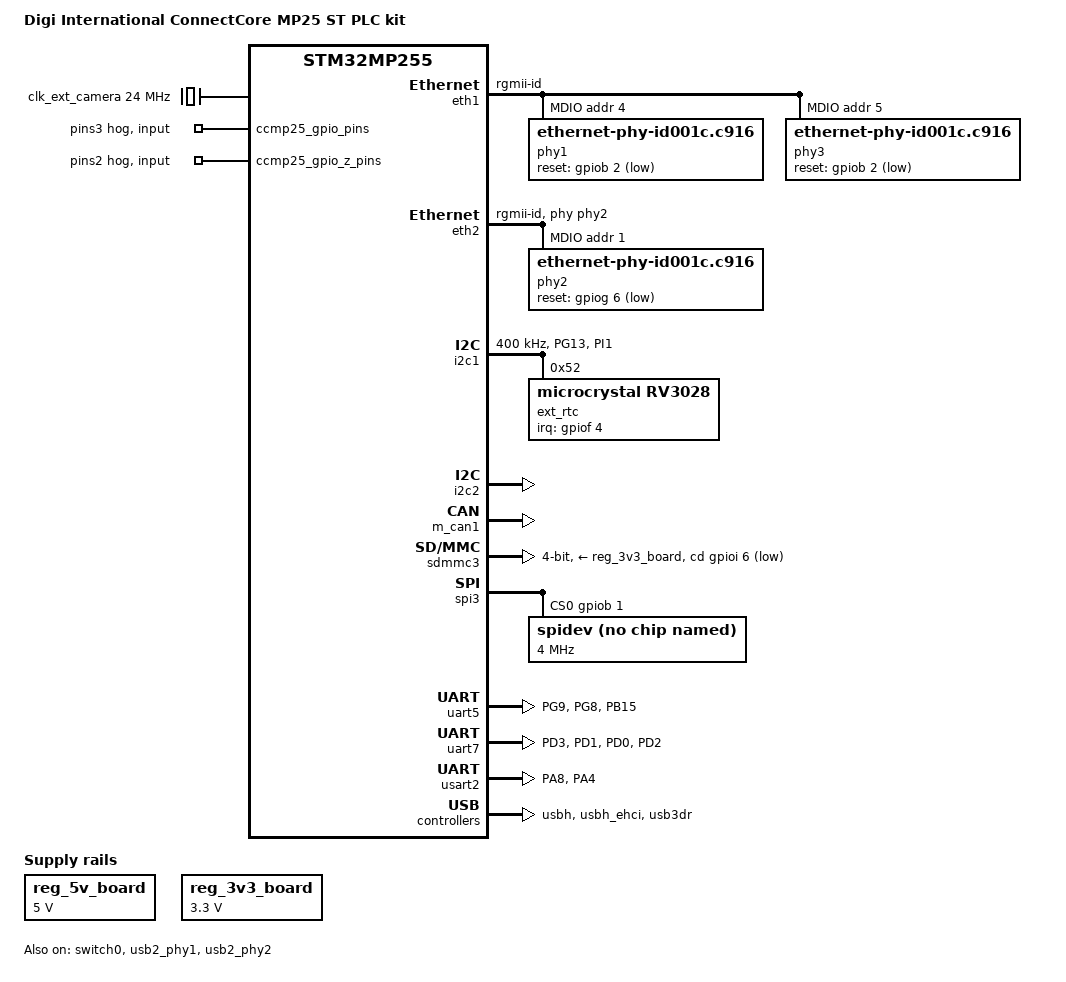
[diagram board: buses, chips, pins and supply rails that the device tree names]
// SPDX-License-Identifier: (GPL-2.0-or-later OR BSD-3-Clause)
/*
 * Copyright (C) 2024,2025, Digi International Inc.
 *
 * Permission to use, copy, modify, and/or distribute this software for any
 * purpose with or without fee is hereby granted, provided that the above
 * copyright notice and this permission notice appear in all copies.
 * THE SOFTWARE IS PROVIDED "AS IS" AND THE AUTHOR DISCLAIMS ALL WARRANTIES
 * WITH REGARD TO THIS SOFTWARE INCLUDING ALL IMPLIED WARRANTIES OF
 * MERCHANTABILITY AND FITNESS. IN NO EVENT SHALL THE AUTHOR BE LIABLE FOR
 * ANY SPECIAL, DIRECT, INDIRECT, OR CONSEQUENTIAL DAMAGES OR ANY DAMAGES
 * WHATSOEVER RESULTING FROM LOSS OF USE, DATA OR PROFITS, WHETHER IN AN
 * ACTION OF CONTRACT, NEGLIGENCE OR OTHER TORTIOUS ACTION, ARISING OUT OF
 * OR IN CONNECTION WITH THE USE OR PERFORMANCE OF THIS SOFTWARE.
 */

/dts-v1/;

/* STM32MP25 CPU */
#include "../st/stm32mp257.dtsi"
#include "../st/stm32mp25xf.dtsi"
#include "../st/stm32mp25-pinctrl.dtsi"
#include "../st/stm32mp25xxai-pinctrl.dtsi"
/* Digi ConnectCore MP25 (SOM) */
#include "ccmp25.dtsi"

#include <dt-bindings/gpio/gpio.h>
#include <dt-bindings/input/input.h>
#include <dt-bindings/leds/common.h>
#include <dt-bindings/regulator/st,stm32mp25-regulator.h>
#include "dt-bindings/pwm/pwm.h"

/ {
	model = "Digi International ConnectCore MP25 ST PLC kit";
	compatible = "digi,ccmp25-dvk", "digi,ccmp25", "digi,ccmp2", "st,stm32mp255";
	digi,machine,name = "ccmp255-dvk";

	dummy-node {
	    compatible = "plcv1.6.5-scarthgap-add-eth3";
		status = "okay";
    };

	aliases {
		ethernet0 = &eth1;
		ethernet1 = &eth2;
		ethernet2 = &switch_port3;  /* Switch physical port (eth3) */
		serial5 = &uart5; 
		serial6 = &uart7;
	};

	chosen {
		stdout-path = "serial0:115200n8";
		#address-cells = <2>;
		#size-cells = <2>;
		ranges;

		framebuffer {
			compatible = "simple-framebuffer";
			clocks = <&rcc CK_BUS_LTDC>, <&rcc CK_KER_LTDC>,
				 <&rcc CK_BUS_LVDS>, <&rcc CK_KER_LVDSPHY>;
			status = "disabled";
		};
	};

	clocks {
		cec_clock: cec-clock {
			compatible = "fixed-clock";
			#clock-cells = <0>;
			clock-frequency = <12000000>;
		};

		clk_ext_camera: clk-ext-camera {
			#clock-cells = <0>;
			compatible = "fixed-clock";
			clock-frequency = <24000000>;
		};

		pad_clk: pad-clk {
			#clock-cells = <0>;
			compatible = "fixed-clock";
			clock-frequency = <100000000>;
		};
	};


	regulators {
		compatible = "simple-bus";
		#address-cells = <1>;
		#size-cells = <0>;


		// 5V由L6981NDR提供，不需要GPIO控制使能
		reg_5v_board: regulator-5v@0 {
			compatible = "regulator-fixed";
			reg = <0>;
			regulator-name = "5v_board";
			regulator-min-microvolt = <5000000>;
			regulator-max-microvolt = <5000000>;
			// 省略了gpio和enable-active-high，因为直接使能
			status = "okay";
		};

		// 3.3V由LDO提供，同样不需要GPIO控制使能
		reg_3v3_board: regulator-3v3@1 {
			compatible = "regulator-fixed";
			reg = <1>;
			regulator-name = "3v3_board";
			regulator-min-microvolt = <3300000>;
			regulator-max-microvolt = <3300000>;
			// 省略了gpio和enable-active-high，因为直接使能
			status = "okay";
		};


	};

	digital-io {
    	status = "okay";
    	pinctrl-names = "default", "sleep";
    	pinctrl-0 = <&ccmp25_gpio_pins &ccmp25_gpio_z_pins>;
    	pinctrl-1 = <&ccmp25_gpio_sleep_pins &ccmp25_gpio_z_sleep_pins>;
	};

};

/*=======================================================*\
*                    Ethernet Configuration               *
\*=======================================================*/

&eth1 {
    status = "okay";
    pinctrl-0 = <&eth1_rgmii_pins_a &eth1_mdio_pins_a>;  /* RGMII + MDIO pins */
    pinctrl-1 = <&eth1_rgmii_sleep_pins_a &eth1_mdio_sleep_pins_a>;
    pinctrl-names = "default", "sleep";
    phy-mode = "rgmii-id";
    max-speed = <1000>;
    st,eth-clk-sel;  /* Clock source selection */

    /*-------------------------------------------------
     * Shared MDIO Bus (for both eth1 & eth3 PHYs)
     * PHY reset GPIO is shared between eth1 & eth3
     *-------------------------------------------------*/
    mdio1 {
        #address-cells = <1>;
        #size-cells = <0>;
        compatible = "snps,dwmac-mdio";

        /* ETH1 PHY (Address 4) */
        phy1: ethernet-phy@4 {
            compatible = "ethernet-phy-id001c.c916";  /* RTL8211F-CG */
            reg = <4>;  /* Hardware PHY address */
            reset-gpios = <&gpiob 2 GPIO_ACTIVE_LOW>;  /* Shared reset GPIO */
            reset-assert-us = <10000>;  /* 10ms assert time */
            reset-deassert-us = <80000>;  /* 80ms deassert time */
            realtek,leds-config = <0x0c>;  /* Custom LED behavior */
        };

        /* ETH3 PHY (Address 5) */
        phy3: ethernet-phy@5 {
            compatible = "ethernet-phy-id001c.c916";
            reg = <5>;  /* Hardware PHY address */
            reset-gpios = <&gpiob 2 GPIO_ACTIVE_LOW>;  /* Shared reset GPIO */
            reset-assert-us = <10000>;
            reset-deassert-us = <80000>;
        };
    };
};

/*-------------------------------------------------------
 * Switch Module Configuration
 * eth1 acts as CPU port, eth3 as physical port
 *-------------------------------------------------------*/
&switch0 {
    status = "okay";
    pinctrl-0 = <&eth1_rgmii_pins_a>, <&eth3_rgmii_pins_a>;  /* Port pins */
    pinctrl-names = "default";
    phy-mode = "rgmii";
    st,ethsw-internal-125;  /* Use internal 125MHz clock */

    ports {
        #address-cells = <1>;
        #size-cells = <0>;

        /* CPU Port (Connected to eth1) */
        port@0 {
            reg = <0>;
            label = "cpu";
            ethernet = <&eth1>;  /* Bind to eth1 MAC */
            phy-mode = "rgmii";
            fixed-link {  /* Fixed link to switch core */
                speed = <1000>;
                full-duplex;
            };
        };

        /* Physical Port 1 (eth1) */
        port@1 {
            reg = <1>;
            label = "eth1";
            phy-handle = <&phy1>;  /* Reference eth1 PHY */
            phy-mode = "rgmii-id";  /* RGMII with internal delay */
        };

        /* Physical Port 3 (eth3) */
        port@3 {
            reg = <3>;
            label = "eth3";
            phy-handle = <&phy3>;  /* Reference eth3 PHY */
            phy-mode = "rgmii-id";
        };
    };
};

&eth2 {

	status = "okay";
	pinctrl-0 = <&eth2_rgmii_pins_a>;
	pinctrl-1 = <&eth2_rgmii_sleep_pins_a>;
	pinctrl-names = "default", "sleep";
	phy-mode = "rgmii-id";
	max-speed = <1000>;
	phy-handle = <&phy2>;
	st,eth-ptp-from-rcc;

	mdio1 {
		#address-cells = <1>;
		#size-cells = <0>;
		compatible = "snps,dwmac-mdio";
		phy2: ethernet-phy@1 {
			compatible = "ethernet-phy-id001c.c916";
			reset-gpios =  <&gpiog 6 GPIO_ACTIVE_LOW>;
			reset-assert-us = <10000>;
			reset-deassert-us = <80000>;
			realtek,eee-disable;
			reg = <1>;
		};
	};

};


/* Peripheral I2C bus (J18 Connector) */
&i2c1 {
	pinctrl-names = "default", "sleep";
	pinctrl-0 = <&ccmp25_i2c1_pins>;
	pinctrl-1 = <&ccmp25_i2c1_sleep_pins>;
	i2c-scl-rising-time-ns = <185>;
	i2c-scl-falling-time-ns = <20>;
	clock-frequency = <400000>;
	status = "okay";
	/* spare dmas for other usage */
	/delete-property/dmas;
	/delete-property/dma-names;


	ext_rtc: ext_rtc@52 {
		compatible = "microcrystal,rv3028";
		reg = <0x52>;
		interrupt-parent = <&gpiof>;
		interrupts = <4 IRQ_TYPE_EDGE_FALLING>; /* RTC_INT_N */
		wakeup-source;
	};
};

&i2c2 {
	pinctrl-names = "default", "sleep";
	pinctrl-0 = <&i2c2_pins_a>;
	pinctrl-1 = <&i2c2_sleep_pins_a>;
	//i2c-scl-rising-time-ns = <100>;
	//i2c-scl-falling-time-ns = <13>;
	//clock-frequency = <400000>;
	status = "okay";
	/* spare dmas for other usage */
	/delete-property/dmas;
	/delete-property/dma-names;
};


/* FDCAN1 */
&m_can1 {
	pinctrl-names = "default", "sleep";
	pinctrl-0 = <&m_can1_pins_a>;
	pinctrl-1 = <&m_can1_sleep_pins_a>;
	status = "okay";
};



/* Micro SD */
&sdmmc3 {
	pinctrl-names = "default", "opendrain", "sleep";
	pinctrl-0 = <&sdmmc3_b4_pins_a>;
	pinctrl-1 = <&sdmmc3_b4_od_pins_a>;
	pinctrl-2 = <&sdmmc3_b4_sleep_pins_a>;
	cd-gpios = <&gpioi 6 GPIO_ACTIVE_LOW>;
	disable-wp;
	st,neg-edge;
	no-1-8-v;
	bus-width = <4>;
	vmmc-supply = <&reg_3v3_board>; /* card's VDD pin */
	vqmmc-supply = <&scmi_vddio3>;
	status = "okay";
};

/* MikroBus SPI */
&spi3 {
	pinctrl-names = "default", "sleep";
	pinctrl-0 = <&spi3_pins_a>;
	pinctrl-1 = <&spi3_sleep_pins_a>;
	cs-gpios = <&gpiob 1 0>; /* SPI3_SS */
	status = "okay";

	spidev@0 {
		compatible = "rohm,dh2228fv";
		/*
		 * spidev uses a compatible string 'rohm,fs2228fv' to have the
		 * driver create an spi device node. This is just an example,
		 * there is not a real device connected on the SPI bus.
		 */
		reg = <0>;
		spi-max-frequency = <4000000>;
	};
};

&uart5 {
	pinctrl-names = "default", "sleep";
	pinctrl-0 = <&ccmp25_uart5_pins>;
	pinctrl-1 = <&ccmp25_uart5_sleep_pins>;
	status = "okay";

	/* USER CODE BEGIN uart5 */
	/delete-property/dmas;
	/delete-property/dma-names;
	/* USER CODE END uart5 */
};

&uart7 {
	pinctrl-names = "default", "sleep";
	pinctrl-0 = <&ccmp25_uart7_pins>;
	pinctrl-1 = <&ccmp25_uart7_sleep_pins>;
	status = "okay";

	/* USER CODE BEGIN uart7 */
	/delete-property/dmas;
	/delete-property/dma-names;
	uart-has-rtscts;
	/* USER CODE END uart7 */
};

/* Console A35 */
&usart2 {
	pinctrl-names = "default", "sleep";
	pinctrl-0 = <&ccmp25_usart2_pins>;
	pinctrl-1 = <&ccmp25_usart2_sleep_pins>;
	/delete-property/dmas;
	/delete-property/dma-names;
	status = "okay";
};

/* USB 2.0 Host */
&usb2_phy1 {
	vdd33-supply = <&scmi_vdd3v3_usb>;
	status = "okay";
};


&usbh {
	status = "okay";
};

&usbh_ehci {
	status = "okay";
};

/* USB 2.0/3.0 Host/Device */
&usb2_phy2 {
	vdd33-supply = <&scmi_vdd3v3_usb>;
	status = "okay";
};

&usb3dr {
	status = "okay";

	dwc3: usb@48300000 {
		maximum-speed = "high-speed";
		usb-role-switch;
		role-switch-default-mode = "peripheral";
	};
};

&pinctrl {
	ccmp25_can1_pins: ccmp25-can1 {
		pins1 {
			pinmux = <STM32_PINMUX('G', 11,  AF7)>; /* FDCAN1_TX */
			drive-push-pull;
			bias-disable;
			slew-rate = <1>;
		};
		pins2 {
			pinmux = <STM32_PINMUX('G', 12,  AF7)>; /* FDCAN1_RX */
			bias-disable;
		};
	};

	ccmp25_can1_sleep_pins: ccmp25-can1-sleep {
		pins {
			pinmux = <STM32_PINMUX('G', 11, ANALOG)>, /* FDCAN1_TX */
					 <STM32_PINMUX('G', 12, ANALOG)>; /* FDCAN1_RX */
		};
	};

	

	ccmp25_gpio_pins: ccmp25-gpio {
		pins1 {
			pinmux = <STM32_PINMUX('B',  2, GPIO)>, /* ETH1_RST_GPIO */
					 <STM32_PINMUX('G',  6, GPIO)>, /* ETH2_RST_GPIO */
					 <STM32_PINMUX('B',  6, GPIO)>, /* PB6_GPIO */
					 <STM32_PINMUX('D', 11, GPIO)>, /* SDMMC1_D4_GPIO */
					 <STM32_PINMUX('F', 10, GPIO)>, /* PF10_GPIO */
					 <STM32_PINMUX('F', 14, GPIO)>, /* USART6_RX_GPIO */
					 <STM32_PINMUX('I',  0, GPIO)>, /* SAI4_MCLK_B_GPIO */
					 <STM32_PINMUX('G',  3, GPIO)>, /* PG3_GPIO */
					 <STM32_PINMUX('D',  5, GPIO)>, /* PD5_GPIO */
					 <STM32_PINMUX('D',  4, GPIO)>, /* PD4_GPIO */
					 <STM32_PINMUX('I',  6, GPIO)>, /* PI6_GPIO */
					 <STM32_PINMUX('I',  9, GPIO)>, /* PI9_GPIO */
					 <STM32_PINMUX('I',  5, GPIO)>, /* UART5_CTS_GPIO */
					 <STM32_PINMUX('B',  3, GPIO)>, /* PB3_GPIO */
					 <STM32_PINMUX('A', 12, GPIO)>, /* PA12_GPIO */
					 <STM32_PINMUX('G', 10, GPIO)>, /* UART5_RX_GPIO */
					 <STM32_PINMUX('I',  8, GPIO)>, /* PI8/LPO32_GPIO */
					 <STM32_PINMUX('G',  4, GPIO)>, /* PG4_GPIO */
					 <STM32_PINMUX('F',  5, GPIO)>; /* PF5_GPIO */
			bias-disable;
			slew-rate = <0>;
		};
		pins2 {
			pinmux = <STM32_PINMUX('G',  7, GPIO)>; /* PG7_GPIO */
			drive-push-pull;
			bias-disable;
			slew-rate = <0>;
		};
		pins3 {
            pinmux = <STM32_PINMUX('D',  9, GPIO)>,  /* PD9_GPIO */
					 <STM32_PINMUX('D',  8, GPIO)>,  /* PD8_GPIO */
					 <STM32_PINMUX('G',  5, GPIO)>,  /* PG5_GPIO */
					 <STM32_PINMUX('F',  11, GPIO)>,  /* PF11_GPIO */
					 <STM32_PINMUX('F',  13, GPIO)>,  /* PF13_GPIO */
					 <STM32_PINMUX('F',  3, GPIO)>,  /* PF3_GPIO */
					 <STM32_PINMUX('D',  6, GPIO)>,  /* PD6_GPIO */
					 <STM32_PINMUX('F',  4, GPIO)>,  /* PF4_GPIO */
					 <STM32_PINMUX('G',  2, GPIO)>,  /* PG2_GPIO */
					 <STM32_PINMUX('G',  1, GPIO)>,  /* PG1_GPIO */
					 <STM32_PINMUX('I',  4, GPIO)>,  /* PGI4_GPIO */
					 <STM32_PINMUX('D',  7, GPIO)>,  /* PD7_GPIO */ 
					 <STM32_PINMUX('D',  10, GPIO)>,  /* PD10_GPIO */ 
					 <STM32_PINMUX('H',  5, GPIO)>,  /* PH5_GPIO */
					 <STM32_PINMUX('F',  15, GPIO)>,  /* PF15_GPIO */  
					 <STM32_PINMUX('I',  10, GPIO)>,  /* PI10_GPIO */ 
					 <STM32_PINMUX('A',  1, GPIO)>,  /* PA1_GPIO */ 
					 <STM32_PINMUX('F',  12, GPIO)>,  /* PF12_GPIO */
					 <STM32_PINMUX('H',  4, GPIO)>,  /* PH4_GPIO */ 
					 <STM32_PINMUX('I',  2, GPIO)>,  /* PI2_GPIO */ 
					 <STM32_PINMUX('I',  3, GPIO)>,  /* PI3_GPIO */   
					 <STM32_PINMUX('B',  0, GPIO)>;  /* PB0_GPIO */
            bias-disable;
            gpio-hog;
        };
	};

	ccmp25_gpio_sleep_pins: ccmp25-gpio-sleep {
		pins {
			pinmux = <STM32_PINMUX('B',  2, ANALOG)>, /* ETH1_RST_GPIO */
					 <STM32_PINMUX('G',  6, ANALOG)>, /* ETH2_RST_GPIO */
					 <STM32_PINMUX('B',  6, ANALOG)>, /* PB6_GPIO */
					 <STM32_PINMUX('D', 11, ANALOG)>, /* SDMMC1_D4_GPIO */
					 <STM32_PINMUX('F', 10, ANALOG)>, /* PF10_GPIO */
					 <STM32_PINMUX('G',  7, ANALOG)>, /* PG7_GPIO */
					 <STM32_PINMUX('F', 14, ANALOG)>, /* USART6_RX_GPIO */
					 <STM32_PINMUX('I',  0, ANALOG)>, /* SAI4_MCLK_B_GPIO */
					 <STM32_PINMUX('G',  3, ANALOG)>, /* PG3_GPIO */
					 <STM32_PINMUX('D',  5, ANALOG)>, /* PD5_GPIO */
					 <STM32_PINMUX('D',  4, ANALOG)>, /* PD4_GPIO */
					 <STM32_PINMUX('I',  6, ANALOG)>, /* PI6_GPIO */
					 <STM32_PINMUX('I',  9, ANALOG)>, /* PI9_GPIO */
					 <STM32_PINMUX('I',  5, ANALOG)>, /* UART5_CTS_GPIO */
					 <STM32_PINMUX('B',  3, ANALOG)>, /* PB3_GPIO */
					 <STM32_PINMUX('A', 12, ANALOG)>, /* PA12_GPIO */
					 <STM32_PINMUX('G', 10, ANALOG)>, /* UART5_RX_GPIO */
					 <STM32_PINMUX('I',  8, ANALOG)>, /* PI8/LPO32_GPIO */
					 <STM32_PINMUX('G',  4, ANALOG)>, /* PG4_GPIO */
					 <STM32_PINMUX('F',  5, ANALOG)>, /* PF5_GPIO */
					 <STM32_PINMUX('D',  8, ANALOG)>,  /* PD8_GPIO */
					 <STM32_PINMUX('G',  5, ANALOG)>,  /* PG5_GPIO */
					 <STM32_PINMUX('F',  11, ANALOG)>,  /* PF11_GPIO */
					 <STM32_PINMUX('F',  13, ANALOG)>,  /* PF13_GPIO */
					 <STM32_PINMUX('F',  3, ANALOG)>,  /* PF3_GPIO */
					 <STM32_PINMUX('D',  6, ANALOG)>,  /* PD6_GPIO */
					 <STM32_PINMUX('F',  4, ANALOG)>,  /* PF4_GPIO */
					 <STM32_PINMUX('G',  2, ANALOG)>,  /* PG2_GPIO */
					 <STM32_PINMUX('G',  1, ANALOG)>,  /* PG1_GPIO */
					 <STM32_PINMUX('I',  4, ANALOG)>,  /* PGI4_GPIO */
					 <STM32_PINMUX('D',  7, ANALOG)>,  /* PD7_GPIO */ 
					 <STM32_PINMUX('D',  10, ANALOG)>,  /* PD10_GPIO */ 
					 <STM32_PINMUX('H',  5, ANALOG)>,  /* PH5_GPIO */
					 <STM32_PINMUX('F',  15, ANALOG)>,  /* PF15_GPIO */  
					 <STM32_PINMUX('I',  10, ANALOG)>,  /* PI10_GPIO */ 
					 <STM32_PINMUX('A',  1, ANALOG)>,  /* PA1_GPIO */ 
					 <STM32_PINMUX('F',  12, ANALOG)>,  /* PF12_GPIO */
					 <STM32_PINMUX('H',  4, ANALOG)>,  /* PH4_GPIO */ 
					 <STM32_PINMUX('I',  2, ANALOG)>,  /* PI2_GPIO */ 
					 <STM32_PINMUX('I',  3, ANALOG)>,  /* PI3_GPIO */   
					 <STM32_PINMUX('B',  0, ANALOG)>;  /* PB0_GPIO */
		};
	};

	ccmp25_i2c1_pins: ccmp25-i2c1 {
		pins {
			pinmux = <STM32_PINMUX('G', 13,  AF9)>, /* I2C1_SCL */
					 <STM32_PINMUX('I',  1,  AF9)>; /* I2C1_SDA */
			drive-open-drain;
			bias-disable;
			slew-rate = <0>;
		};
	};

	ccmp25_i2c1_sleep_pins: ccmp25-i2c1-sleep {
		pins {
			pinmux = <STM32_PINMUX('G', 13, ANALOG)>, /* I2C1_SCL */
					 <STM32_PINMUX('I',  1, ANALOG)>; /* I2C1_SDA */
		};
	};

	ccmp25_i2c2_pins: ccmp25-i2c2 {
		pins {
			pinmux = <STM32_PINMUX('B',  5,  AF9)>, /* I2C2_SCL */
					 <STM32_PINMUX('B',  4,  AF9)>; /* I2C2_SDA */
			drive-open-drain;
			bias-disable;
			slew-rate = <0>;
		};
	};

	ccmp25_i2c2_sleep_pins: ccmp25-i2c2-sleep {
		pins {
			pinmux = <STM32_PINMUX('B',  5, ANALOG)>, /* I2C2_SCL */
					 <STM32_PINMUX('B',  4, ANALOG)>; /* I2C2_SDA */
		};
	};


	ccmp25_spi3_pins: ccmp25-spi3 {
		pins1 {
			pinmux = <STM32_PINMUX('B',  8,  AF1)>, /* SPI3_MOSI */
					 <STM32_PINMUX('B',  7,  AF3)>; /* SPI3_SCK */
			drive-push-pull;
			bias-disable;
			slew-rate = <1>;
		};
		pins2 {
			pinmux = <STM32_PINMUX('B', 10,  AF3)>, /* SPI3_MISO */
					 <STM32_PINMUX('B',  1,  AF3)>; /* SPI3_NSS */
			drive-push-pull;
			bias-disable;
			slew-rate = <0>;
		};
	};

	ccmp25_spi3_sleep_pins: ccmp25-spi3-sleep {
		pins {
			pinmux = <STM32_PINMUX('B',  8, ANALOG)>, /* SPI3_MOSI */
					 <STM32_PINMUX('B', 10, ANALOG)>, /* SPI3_MISO */
					 <STM32_PINMUX('B',  7, ANALOG)>, /* SPI3_SCK */
					 <STM32_PINMUX('B',  1, ANALOG)>; /* SPI3_NSS */
		};
	};

	ccmp25_uart5_pins: ccmp25-uart5 {
		pins1 {
			pinmux = <STM32_PINMUX('G',  9,  AF5)>, /* UART5_TX */
					 <STM32_PINMUX('G',  8,  AF5)>; /* UART5_DE */
			drive-push-pull;
			bias-disable;
			slew-rate = <0>;
		};
		pins2 {
			pinmux = <STM32_PINMUX('B', 15,  AF5)>; /* UART5_RX */
			bias-disable;
		};
	};

	ccmp25_uart5_sleep_pins: ccmp25-uart5-sleep {
		pins {
			pinmux = <STM32_PINMUX('G',  9, ANALOG)>, /* UART5_TX */
					 <STM32_PINMUX('B', 15, ANALOG)>, /* UART5_RX */
					 <STM32_PINMUX('G',  8, ANALOG)>; /* UART5_DE */
		};
	};

	ccmp25_uart7_pins: ccmp25-uart7 {
		pins1 {
			pinmux = <STM32_PINMUX('D',  3,  AF6)>, /* UART7_TX */
					 <STM32_PINMUX('D',  1,  AF6)>; /* UART7_RTS */
			drive-push-pull;
			bias-disable;
			slew-rate = <0>;
		};
		pins2 {
			pinmux = <STM32_PINMUX('D',  0,  AF6)>, /* UART7_RX */
					 <STM32_PINMUX('D',  2,  AF6)>; /* UART7_CTS */
			bias-disable;
		};
	};

	ccmp25_uart7_sleep_pins: ccmp25-uart7-sleep {
		pins {
			pinmux = <STM32_PINMUX('D',  3, ANALOG)>, /* UART7_TX */
					 <STM32_PINMUX('D',  0, ANALOG)>, /* UART7_RX */
					 <STM32_PINMUX('D',  1, ANALOG)>, /* UART7_RTS */
					 <STM32_PINMUX('D',  2, ANALOG)>; /* UART7_CTS */
		};
	};
	ccmp25_usart2_pins: ccmp25-usart2 {
		pins1 {
			pinmux = <STM32_PINMUX('A',  8,  AF8)>; /* USART2_RX */
			bias-disable;
		};
		pins2 {
			pinmux = <STM32_PINMUX('A',  4,  AF6)>; /* USART2_TX */
			drive-push-pull;
			bias-disable;
			slew-rate = <0>;
		};
	};

	ccmp25_usart2_sleep_pins: ccmp25-usart-sleep-2 {
		pins {
			pinmux = <STM32_PINMUX('A',  8, ANALOG)>, /* USART2_RX */
					 <STM32_PINMUX('A',  4, ANALOG)>; /* USART2_TX */
		};
	};

};

&pinctrl_z {
	ccmp25_gpio_z_pins: ccmp25-gpio {
		pins1 {
			pinmux = <STM32_PINMUX('Z',  6, GPIO)>, /* 3V3_RF_EN/PZ6_GPIO */
					 <STM32_PINMUX('Z',  9, GPIO)>, /* PZ9_GPIO */
					 <STM32_PINMUX('Z',  8, GPIO)>, /* PZ8_GPIO */
					 <STM32_PINMUX('Z',  1, GPIO)>, /* PZ1_GPIO */
					 <STM32_PINMUX('Z',  0, GPIO)>, /* PZ0_GPIO */
					 <STM32_PINMUX('Z',  4, GPIO)>, /* PZ4_GPIO */
					 <STM32_PINMUX('Z',  3, GPIO)>; /* PZ3_GPIO */
			bias-disable;
			slew-rate = <0>;
		};
		pins2 {
            pinmux = <STM32_PINMUX('Z', 2, GPIO)>; /* PZ2_GPIO */
            bias-disable;
            gpio-hog;
		};
	};

	ccmp25_gpio_z_sleep_pins: ccmp25-gpio-sleep {
		pins {
			pinmux = <STM32_PINMUX('Z',  6, ANALOG)>, /* 3V3_RF_EN/PZ6_GPIO */
					 <STM32_PINMUX('Z',  9, ANALOG)>, /* PZ9_GPIO */
					 <STM32_PINMUX('Z',  8, ANALOG)>, /* PZ8_GPIO */
					 <STM32_PINMUX('Z',  1, ANALOG)>, /* PZ1_GPIO */
					 <STM32_PINMUX('Z',  0, ANALOG)>, /* PZ0_GPIO */
					 <STM32_PINMUX('Z',  4, ANALOG)>, /* PZ4_GPIO */
					 <STM32_PINMUX('Z',  3, ANALOG)>, /* PZ3_GPIO */
					 <STM32_PINMUX('Z',  2, ANALOG)>; /* PZ2_GPIO */
		};
	};

};
